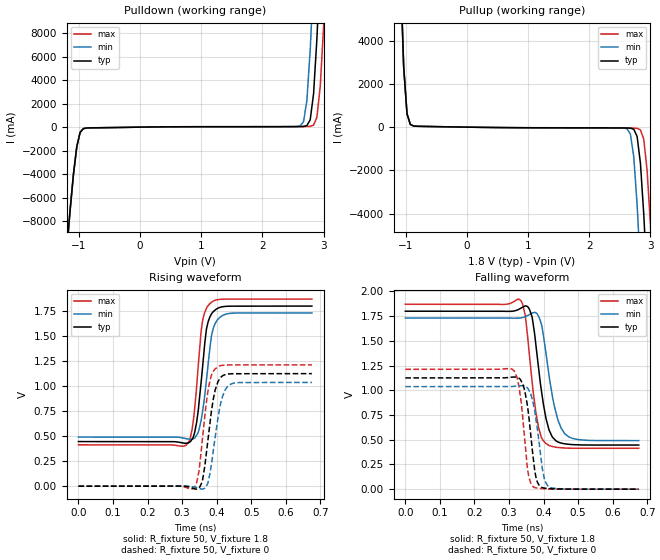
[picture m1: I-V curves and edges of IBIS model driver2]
| IBIS file invchain_weak_tr100ps.ibs created by PYS2IBIS3
| Missouri S&T EMC Lab
[IBIS Ver] 7.1
[File Name] invchain_weak_tr100ps.ibs
[File Rev] 1.0
[Date] Jul 27, 2026
[Source] inv_chain variant 'weak' -- half drive at every stage
[Notes] Parameter selection; sim_time=6.756e-10, tr=tf=1.000e-10.
[Component] invchain
[Manufacturer] s2ibispy study
[Package]
| variable   typ   min   max
R_pkg 0 NA NA
L_pkg 0H NA NA
C_pkg 0F NA NA
[Pin]  signal_name   model_name   R_pin   L_pin   C_pin
VSSQ   VSSQ   Gnd
VCCQ   VCCQ   Power
| IN IN dummy
PAD   PAD   driver2
| End of Component
| Models and submodels in the file (1): driver2 (Output)
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[Model] driver2
Model_type Output
Polarity Non-Inverting
Enable Active-High
Vinl  = 0.8V
Vinh  = 2V
C_comp 0.4680pF NA NA
[Temperature Range] 27.0000 27.0000 27.0000
[Voltage Range] 1.8000V 1.7000V 1.9000V
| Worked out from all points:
|   slope of the pulldown table from 0 to 0.27 V, typ, clamps not added: 14.1 ohm
|   slope of the pullup table from 0 to 0.27 V, typ, clamps not added: 24.6 ohm
|   rising waveform, R_fixture 50, V_fixture 1.8: 20-80 % time 23.6ps typ, 25.2ps min, 22ps max; typ from 0.446 V to 1.8 V
|   rising waveform, R_fixture 50, V_fixture 0: 20-80 % time 25.3ps typ, 27.4ps min, 23.7ps max; typ from 0 V to 1.12 V
|   falling waveform, R_fixture 50, V_fixture 1.8: 20-80 % time 31.5ps typ, 35.6ps min, 28.3ps max; typ from 1.8 V to 0.446 V
|   falling waveform, R_fixture 50, V_fixture 0: 20-80 % time 22.4ps typ, 24.3ps min, 20.7ps max; typ from 1.12 V to 0 V
[Pulldown]
| Voltage   I(typ)   I(min)   I(max)
-1.8V     -50.22A    -50.22A    -50.22A
-1.2V     -10.44A    -10.44A    -10.44A
-1.036V   -1.67A     -1.668A    -1.672A
-927.3mV  -121.6mA   -118.9mA   -124mA
2.618V    48.73mA    103.1mA    49.35mA
2.727V    131.8mA    2.281A     54.59mA
2.782V    631.5mA    6.58A      69.15mA
2.836V    2.833A     12.65A     170.1mA
2.891V    7.503A     19.29A     839.8mA
2.946V    13.76A     25.94A     3.459A
3V        20.41A     32.59A     8.47A
3.6V      93.55A     105.7A     81.36A
[Pullup]
| Voltage   I(typ)   I(min)   I(max)
-1.8V     93.5A      93.5A      93.5A
-1.091V   7.473A     7.472A     7.473A
-981.8mV  621.2mA    620.4mA    621.9mA
-872.7mV  52.26mA    51.37mA    53.06mA
2.618V    -40.01mA   -79.32mA   -40.56mA
2.727V    -99.7mA    -1.375A    -44.4mA
2.782V    -427.1mA   -3.579A    -55.14mA
2.836V    -1.672A    -6.535A    -126.4mA
2.891V    -4.036A    -9.883A    -555.7mA
2.946V    -7.076A    -13.45A    -2.002A
3V        -10.47A    -17.07A    -4.511A
3.6V      -50.25A    -56.88A    -43.62A
[Ramp]
| variable   typ   min   max
dV/dt_r 0.6750/0.02523n 0.6222/0.02702n 0.7272/0.02372n
dV/dt_f 0.8123/0.03132n 0.7501/0.03447n 0.8728/0.02908n
R_load = 50
[Rising Waveform]
R_fixture = 50
V_fixture = 1.8
|time   V(typ)   V(min)   V(max)
0s        446.2mV    490.9mV    413.3mV
311.1ps   429mV      475.5mV    408.3mV
329.4ps   472.8mV    469.4mV    578mV
349.6ps   855.1mV    572.8mV    1.334V
359.8ps   1.219V     762.2mV    1.664V
369.9ps   1.562V     1.045V     1.777V
379.4ps   1.685V     1.351V     1.822V
393.6ps   1.756V     1.611V     1.856V
422ps     1.796V     1.714V     1.869V
675.6ps   1.8V       1.731V     1.87V
[Rising Waveform]
R_fixture = 50
V_fixture = 0
|time   V(typ)   V(min)   V(max)
0s        17.4nV     16.96nV    17.93nV
330ps     -19.57mV   -4.19mV    -27.13mV
343.6ps   -27.09mV   -16.27mV   61.48mV
349ps     -14.66mV   -22.56mV   154.4mV
358.4ps   47.94mV    -28.73mV   460.3mV
376.7ps   526mV      62.07mV    992.5mV
395.6ps   960.6mV    493.6mV    1.173V
413.9ps   1.094V     862.9mV    1.207V
438.9ps   1.123V     1.018V     1.212V
675.6ps   1.125V     1.037V     1.212V
[Falling Waveform]
R_fixture = 50
V_fixture = 1.8
|time   V(typ)   V(min)   V(max)
0s        1.8V       1.731V     1.87V
333.4ps   1.829V     1.732V     1.91V
347.6ps   1.854V     1.745V     1.747V
366.6ps   1.746V     1.781V     1.097V
384.1ps   1.262V     1.756V     642.4mV
398.3ps   884.1mV    1.583V     494.4mV
414.6ps   611.1mV    1.18V      444.8mV
430.1ps   509.3mV    854.6mV    427.7mV
461.2ps   458.5mV    561.8mV    416.1mV
675.6ps   446.2mV    490.8mV    413.3mV
[Falling Waveform]
R_fixture = 50
V_fixture = 0
|time   V(typ)   V(min)   V(max)
0s        1.125V     1.037V     1.212V
309.7ps   1.133V     1.039V     1.213V
328ps     1.125V     1.045V     1.057V
344.9ps   1.006V     1.043V     518.2mV
355.7ps   781.1mV    1.015V     155.3mV
369.9ps   320.7mV    868.8mV    23.91mV
382.8ps   66.3mV     595.6mV    9.956mV
398.3ps   13.6mV     174.1mV    4.86mV
411.9ps   6.816mV    35.44mV    2.544mV
675.6ps   -225.2nV   -1.445uV   115.3nV
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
